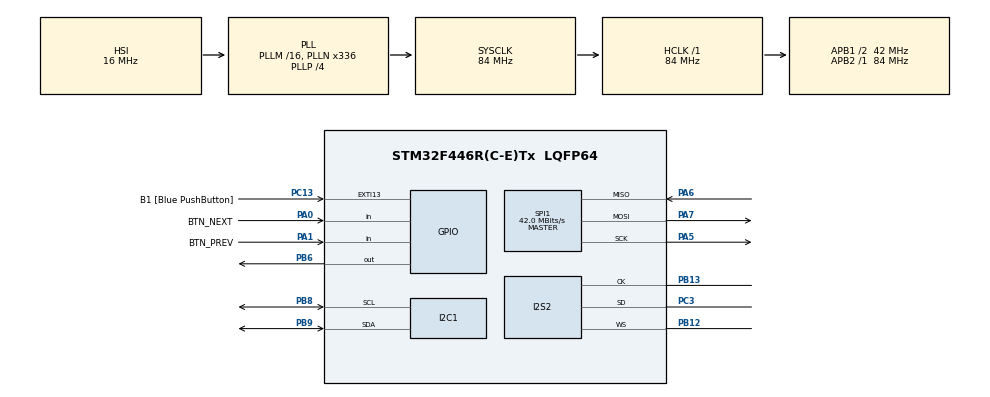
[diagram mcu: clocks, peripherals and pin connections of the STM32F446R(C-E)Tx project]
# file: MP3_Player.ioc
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Dma.Request0=SPI2_TX
Dma.SPI2_TX.0.Direction=DMA_MEMORY_TO_PERIPH
Dma.SPI2_TX.0.FIFOMode=DMA_FIFOMODE_DISABLE
Dma.SPI2_TX.0.Instance=DMA1_Stream4
Dma.SPI2_TX.0.MemDataAlignment=DMA_MDATAALIGN_HALFWORD
Dma.SPI2_TX.0.MemInc=DMA_MINC_ENABLE
Dma.SPI2_TX.0.Mode=DMA_CIRCULAR
Dma.SPI2_TX.0.PeriphDataAlignment=DMA_PDATAALIGN_HALFWORD
Dma.SPI2_TX.0.PeriphInc=DMA_PINC_DISABLE
Dma.SPI2_TX.0.Priority=DMA_PRIORITY_LOW
I2S2.AudioFreq=I2S_AUDIOFREQ_44K
I2S2.ErrorAudioFreq=0.24 %
I2S2.FullDuplexMode=I2S_FULLDUPLEXMODE_DISABLE
I2S2.Instance=SPI$Index
I2S2.RealAudioFreq=44.108 KHz
I2S2.VirtualMode=I2S_MODE_MASTER
Mcu.Family=STM32F4
Mcu.Name=STM32F446R(C-E)Tx
Mcu.Package=LQFP64
NVIC.DMA1_Stream4_IRQn=true\:0\:0\:false\:false\:true\:false\:true\:true
NVIC.PriorityGroup=NVIC_PRIORITYGROUP_0
PA0-WKUP.GPIO_Label=BTN_NEXT
PA0-WKUP.GPIO_PuPd=GPIO_PULLUP
PA0-WKUP.Signal=GPIO_Input
PA1.GPIO_Label=BTN_PREV
PA1.GPIO_PuPd=GPIO_PULLUP
PA1.Signal=GPIO_Input
PA13.GPIO_Label=TMS
PA13.Mode=Serial_Wire
PA13.Signal=SYS_JTMS-SWDIO
PA14.GPIO_Label=TCK
PA14.Mode=Serial_Wire
PA14.Signal=SYS_JTCK-SWCLK
PA2.GPIO_Label=USART_TX
PA2.Signal=USART2_TX
PA3.GPIO_Label=USART_RX
PA3.Signal=USART2_RX
PA5.Mode=Full_Duplex_Master
PA5.Signal=SPI1_SCK
PA6.Mode=Full_Duplex_Master
PA6.Signal=SPI1_MISO
PA7.Mode=Full_Duplex_Master
PA7.Signal=SPI1_MOSI
PB12.Mode=Half_Duplex_Master
PB12.Signal=I2S2_WS
PB13.Mode=Half_Duplex_Master
PB13.Signal=I2S2_CK
PB6.Signal=GPIO_Output
PB8.Mode=I2C
PB8.Signal=I2C1_SCL
PB9.Mode=I2C
PB9.Signal=I2C1_SDA
PC13.GPIO_Label=B1 [Blue PushButton]
PC13.GPIO_ModeDefaultEXTI=GPIO_MODE_IT_FALLING
PC13.Signal=GPXTI13
PC14-OSC32_IN.Signal=RCC_OSC32_IN
PC15-OSC32_OUT.Signal=RCC_OSC32_OUT
PC3.Mode=Half_Duplex_Master
PC3.Signal=I2S2_SD
PH0-OSC_IN.Signal=RCC_OSC_IN
PH1-OSC_OUT.Signal=RCC_OSC_OUT
ProjectManager.HeapSize=0x200
ProjectManager.StackSize=0x400
ProjectManager.TargetToolchain=STM32CubeIDE
RCC.AHBFreq_Value=84000000
RCC.APB1CLKDivider=RCC_HCLK_DIV2
RCC.APB1Freq_Value=42000000
RCC.APB1TimFreq_Value=84000000
RCC.APB2Freq_Value=84000000
RCC.APB2TimFreq_Value=84000000
RCC.CortexFreq_Value=84000000
RCC.FLatency-AdvancedSettings=FLASH_LATENCY_2
RCC.HCLKFreq_Value=84000000
RCC.HSE_VALUE=8000000
RCC.HSI_VALUE=16000000
RCC.LSE_VALUE=32768
RCC.PLLI2SN=271
RCC.PLLI2SR=6
RCC.PLLN=336
RCC.PLLP=RCC_PLLP_DIV4
RCC.SYSCLKFreq_VALUE=84000000
RCC.SYSCLKSource=RCC_SYSCLKSOURCE_PLLCLK
RCC.USBFreq_Value=168000000
RCC.VCOOutputFreq_Value=336000000
SPI1.CalculateBaudRate=42.0 MBits/s
SPI1.Direction=SPI_DIRECTION_2LINES
SPI1.Mode=SPI_MODE_MASTER
SPI1.VirtualType=VM_MASTER
VP_FATFS_VS_Generic.Mode=User_defined
board=NUCLEO-F446RE

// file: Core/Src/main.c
/* USER CODE BEGIN Header */
/**
  ******************************************************************************
  * @file           : main.c
  * @brief          : Reproductor de audio WAV en tiempo real para STM32F446RE.
  *                   Pipeline: FatFs (SPI1) -> DMA Ping-Pong Buffer -> I2S2 -> DAC PCM5102A.
  * @author         : polcf03
  * @note           : Implementa un buffer circular de doble mitad (Ping-Pong)
  *                   sincronizado mediante interrupciones DMA (Half/Complete Transfer).
  ******************************************************************************
  */
/* USER CODE END Header */

#include "main.h"
#include "fatfs.h"

/* USER CODE BEGIN Includes */
#include "ff.h"
#include "string.h"
#include "stdio.h"
#include "ssd1306.h"
#include "ssd1306_fonts.h"
/* USER CODE END Includes */

/* USER CODE BEGIN PTD */
/**
 * @brief Estados principales de la máquina de control de reproducción de audio.
 */
typedef enum {
    PLAYER_STOPPED = 0, /*!< Reproducción detenida, DMA inactiva */
    PLAYER_PLAYING,     /*!< Audio en streaming continuo vía DMA */
    PLAYER_PAUSED       /*!< Reloj/transmisión de audio en pausa, archivo abierto */
} PlayerState_t;
/* USER CODE END PTD */

/* USER CODE BEGIN PD */
/**
 * @brief Tamaño total del búfer circular en muestras de 16 bits (uint16_t).
 * @details 4096 muestras equivalen a 2048 muestras por canal (L+R estéreo).
 *          A 44.1 kHz, el búfer representa ~46.4 ms totales de audio.
 *          Cada semibúfer (2048 palabras de 16 bits / 1024 muestras estéreo) otorga un
 *          margen de ~23.2 ms a la CPU para leer de la tarjeta SD sin causar underrun.
 */
#define AUDIO_BUFFER_SIZE   4096
/* USER CODE END PD */

I2C_HandleTypeDef hi2c1;        /*!< Manejador del bus I2C1 (Pantalla OLED) */
I2S_HandleTypeDef hi2s2;        /*!< Manejador de la interfaz de audio I2S2 (DAC PCM5102A) */
DMA_HandleTypeDef hdma_spi2_tx; /*!< Manejador de DMA1 Stream 4 para TX I2S2 */
SPI_HandleTypeDef hspi1;        /*!< Manejador del bus SPI1 (Lector SD) */

/* USER CODE BEGIN PV */
/* Objetos del Middleware FatFs */
FATFS   FatFs;               /*!< Objeto de montaje del sistema de archivos en volumen lógico */
FIL     audioFile;           /*!< Descriptor del archivo de audio actualmente abierto */
FRESULT fr;                  /*!< Código de resultado de las operaciones FatFs */
UINT    bytesRead;           /*!< Contador de bytes leídos en cada ráfaga de f_read */

/* Variables de control del pipeline de audio */
uint16_t audioBuffer[AUDIO_BUFFER_SIZE]; /*!< Búfer circular compartido entre CPU y DMA */
volatile uint8_t bufferHalfFull = 0;    /*!< Flag de sincronización ISR-Main:
                                             1 = Semibúfer 0 consumido (DMA transmite mitad 1)
                                             2 = Semibúfer 1 consumido (DMA transmite mitad 0) */
uint32_t audioDataOffset = 44;          /*!< Posición en bytes donde comienzan las muestras PCM */
PlayerState_t playerState = PLAYER_STOPPED; /*!< Estado actual del reproductor */
/* USER CODE END PV */

void SystemClock_Config(void);
static void MX_GPIO_Init(void);
static void MX_DMA_Init(void);
static void MX_I2C1_Init(void);
static void MX_I2S2_Init(void);
static void MX_SPI1_Init(void);

/* USER CODE BEGIN PFP */
void Draw_PlayerScreen(const char* songName);
void Display_Error(const char* msg);
uint32_t WAV_GetDataOffset(FIL* fp);
/* USER CODE END PFP */

/* USER CODE BEGIN 0 */

/**
 * @brief  Localiza dinámicamente el inicio de los datos PCM (chunk "data") en un archivo WAV.
 * @details Examina la cabecera del archivo en búsqueda de la etiqueta ASCII "data".
 *          Evita errores de alineación de 16 bits provocados por metadatos opcionales (etiquetas LIST/INFO).
 * @param  fp: Puntero al descriptor de archivo FatFs ya abierto.
 * @retval Desplazamiento en bytes (offset) desde el inicio del archivo donde inician las muestras PCM.
 */
uint32_t WAV_GetDataOffset(FIL* fp) {
    uint8_t buffer[512];
    UINT br;

    f_lseek(fp, 0);
    if (f_read(fp, buffer, sizeof(buffer), &br) != FR_OK || br < 44) {
        return 44; /* Retorno seguro por defecto si el archivo es un WAV canónico de 44 bytes */
    }

    /* Búsqueda de la firma "data" en los primeros 512 bytes de la cabecera */
    for (uint32_t i = 0; i < br - 4; i++) {
        if (buffer[i] == 'd' && buffer[i+1] == 'a' &&
            buffer[i+2] == 't' && buffer[i+3] == 'a') {
            return i + 8; /* Saltar el identificador "data" (4 bytes) + campo ChunkSize (4 bytes) */
        }
    }
    return 44;
}

/**
 * @brief  Renderiza la interfaz visual del reproductor en la pantalla OLED SSD1306 vía I2C.
 * @param  songName: Cadena de caracteres con el título del tema a mostrar.
 * @retval Ninguno
 */
void Draw_PlayerScreen(const char* songName) {
    ssd1306_Fill(Black);

    /* Encabezado */
    ssd1306_SetCursor(0, 0);
    ssd1306_WriteString("STM32 PLAYER", Font_7x10, White);

    /* Nombre del tema */
    ssd1306_SetCursor(0, 18);
    ssd1306_WriteString((char*)songName, Font_7x10, White);

    /* Estado del reproductor */
    ssd1306_SetCursor(0, 34);
    ssd1306_WriteString("Status: PLAY", Font_7x10, White);

    /* Indicador de progreso estático */
    ssd1306_SetCursor(0, 50);
    ssd1306_WriteString("[=====>    ]", Font_7x10, White);

    ssd1306_UpdateScreen();
}

/**
 * @brief  Detiene la ejecución del sistema y muestra un mensaje de fallo crítico en la pantalla.
 * @param  msg: Cadena de texto descriptiva del error detectado.
 * @retval Ninguno (Entra en un bucle de bloqueo permanente).
 */
void Display_Error(const char* msg) {
    ssd1306_Fill(Black);
    ssd1306_SetCursor(0, 0);
    ssd1306_WriteString("FATAL ERROR", Font_7x10, White);
    ssd1306_SetCursor(0, 20);
    ssd1306_WriteString((char*)msg, Font_7x10, White);
    ssd1306_UpdateScreen();
    while (1);
}

/* USER CODE END 0 */

/**
  * @brief  Punto de entrada principal de la aplicación.
  * @retval int
  */
int main(void)
{
  /* Reset de todos los periféricos, inicialización de la interfaz Flash y SysTick */
  HAL_Init();

  /* Configuración del reloj del sistema (System Clock) */
  SystemClock_Config();

  /* Inicialización de periféricos generados por STM32CubeMX */
  MX_GPIO_Init();
  MX_DMA_Init();
  MX_I2C1_Init();
  MX_I2S2_Init();
  MX_FATFS_Init();
  MX_SPI1_Init();

  /* USER CODE BEGIN 2 */

  /* 1. Inicialización de la pantalla OLED y preparación del bus SPI de la SD */
  ssd1306_Init();
  HAL_GPIO_WritePin(GPIOB, GPIO_PIN_6, GPIO_PIN_SET); /* Deseleccionar Chip Select (CS) de la SD (HIGH) */
  HAL_Delay(50);

  /* 2. Montaje del sistema de archivos FatFs a baja velocidad (<400 kHz requerido para inicializar la tarjeta SD) */
  fr = f_mount(&FatFs, "", 1);
  if (fr != FR_OK) {
      Display_Error("SD MOUNT FAIL");
  }

  /* 3. Reconfiguración de velocidad del bus SPI a alta velocidad (10.5 MHz) para transferencia de audio */
  hspi1.Init.BaudRatePrescaler = SPI_BAUDRATEPRESCALER_8;
  HAL_SPI_Init(&hspi1);

  /* 4. Apertura del archivo WAV desde la SD */
  fr = f_open(&audioFile, "test.wav", FA_READ);
  if (fr != FR_OK) {
      Display_Error("FILE NOT FOUND");
  }

  /* 5. Análisis de cabecera para ignorar metadatos y precarga del búfer Ping-Pong completo */
  audioDataOffset = WAV_GetDataOffset(&audioFile);
  f_lseek(&audioFile, audioDataOffset);

  fr = f_read(&audioFile, audioBuffer, sizeof(audioBuffer), &bytesRead);
  if (fr != FR_OK || bytesRead == 0) {
      Display_Error("FILE READ ERR");
  }

  /* 6. Actualización de la pantalla e inicio del streaming I2S con DMA en modo circular */
  Draw_PlayerScreen("Your Lie In April!!");
  playerState = PLAYER_PLAYING;
  HAL_I2S_Transmit_DMA(&hi2s2, (uint16_t*)audioBuffer, AUDIO_BUFFER_SIZE);

  /* USER CODE END 2 */

  /* Infinite loop */
  /* USER CODE BEGIN WHILE */
  while (1)
  {
      /**
       * MANTENIMIENTO DEL BÚFER CIRCULAR PING-PONG:
       *
       * Evento 1: La DMA ha completado el envío de la primera mitad del búfer (Muestras 0 a 2047).
       * Acción CPU: Recarga la primera mitad con datos nuevos desde la SD mientras la DMA
       *             sigue transmitiendo la segunda mitad de forma ininterrumpida.
       */
      if (bufferHalfFull == 1) {
          bufferHalfFull = 0;
          fr = f_read(&audioFile, &audioBuffer[0], sizeof(audioBuffer) / 2, &bytesRead);
          if (bytesRead < (sizeof(audioBuffer) / 2) || fr != FR_OK) {
              f_lseek(&audioFile, audioDataOffset); /* Rebobinar al inicio del audio si alcanza el EOF */
          }
      }

      /**
       * Evento 2: La DMA ha completado el envío de la segunda mitad del búfer (Muestras 2048 a 4095).
       * Acción CPU: Recarga la segunda mitad con datos nuevos desde la SD mientras la DMA
       *             vuelve a transmitir la primera mitad en bucle.
       */
      if (bufferHalfFull == 2) {
          bufferHalfFull = 0;
          fr = f_read(&audioFile, &audioBuffer[AUDIO_BUFFER_SIZE / 2], sizeof(audioBuffer) / 2, &bytesRead);
          if (bytesRead < (sizeof(audioBuffer) / 2) || fr != FR_OK) {
              f_lseek(&audioFile, audioDataOffset); /* Rebobinar al inicio del audio si alcanza el EOF */
          }
      }
  }
  /* USER CODE END WHILE */

}

/**
  * @brief Configuración del sistema de relojes (System Clock).
  * @retval None
  */
void SystemClock_Config(void)
{
  RCC_OscInitTypeDef RCC_OscInitStruct = {0};
  RCC_ClkInitTypeDef RCC_ClkInitStruct = {0};

  __HAL_RCC_PWR_CLK_ENABLE();
  __HAL_PWR_VOLTAGESCALING_CONFIG(PWR_REGULATOR_VOLTAGE_SCALE3);

  RCC_OscInitStruct.OscillatorType = RCC_OSCILLATORTYPE_HSI;
  RCC_OscInitStruct.HSIState = RCC_HSI_ON;
  RCC_OscInitStruct.HSICalibrationValue = RCC_HSICALIBRATION_DEFAULT;
  RCC_OscInitStruct.PLL.PLLState = RCC_PLL_ON;
  RCC_OscInitStruct.PLL.PLLSource = RCC_PLLSOURCE_HSI;
  RCC_OscInitStruct.PLL.PLLM = 16;
  RCC_OscInitStruct.PLL.PLLN = 336;
  RCC_OscInitStruct.PLL.PLLP = RCC_PLLP_DIV4;
  RCC_OscInitStruct.PLL.PLLQ = 2;
  RCC_OscInitStruct.PLL.PLLR = 2;
  if (HAL_RCC_OscConfig(&RCC_OscInitStruct) != HAL_OK)
  {
    Error_Handler();
  }

  RCC_ClkInitStruct.ClockType = RCC_CLOCKTYPE_HCLK|RCC_CLOCKTYPE_SYSCLK
                              |RCC_CLOCKTYPE_PCLK1|RCC_CLOCKTYPE_PCLK2;
  RCC_ClkInitStruct.SYSCLKSource = RCC_SYSCLKSOURCE_PLLCLK;
  RCC_ClkInitStruct.AHBCLKDivider = RCC_SYSCLK_DIV1;
  RCC_ClkInitStruct.APB1CLKDivider = RCC_HCLK_DIV2;
  RCC_ClkInitStruct.APB2CLKDivider = RCC_HCLK_DIV1;

  if (HAL_RCC_ClockConfig(&RCC_ClkInitStruct, FLASH_LATENCY_2) != HAL_OK)
  {
    Error_Handler();
  }
}

/**
  * @brief Inicialización del periférico I2C1 (Pantalla OLED).
  * @retval None
  */
static void MX_I2C1_Init(void)
{
  hi2c1.Instance = I2C1;
  hi2c1.Init.ClockSpeed = 100000;
  hi2c1.Init.DutyCycle = I2C_DUTYCYCLE_2;
  hi2c1.Init.OwnAddress1 = 0;
  hi2c1.Init.AddressingMode = I2C_ADDRESSINGMODE_7BIT;
  hi2c1.Init.DualAddressMode = I2C_DUALADDRESS_DISABLE;
  hi2c1.Init.OwnAddress2 = 0;
  hi2c1.Init.GeneralCallMode = I2C_GENERALCALL_DISABLE;
  hi2c1.Init.NoStretchMode = I2C_NOSTRETCH_DISABLE;
  if (HAL_I2C_Init(&hi2c1) != HAL_OK)
  {
    Error_Handler();
  }
}

/**
  * @brief Inicialización del periférico I2S2 (Interfaz de Audio).
  * @retval None
  */
static void MX_I2S2_Init(void)
{
  __HAL_RCC_SPI2_CLK_ENABLE();
  hi2s2.Instance = SPI2;
  hi2s2.Init.Mode = I2S_MODE_MASTER_TX;
  hi2s2.Init.Standard = I2S_STANDARD_PHILIPS;
  hi2s2.Init.DataFormat = I2S_DATAFORMAT_16B_EXTENDED;
  hi2s2.Init.MCLKOutput = I2S_MCLKOUTPUT_DISABLE;
  hi2s2.Init.AudioFreq = I2S_AUDIOFREQ_44K;
  hi2s2.Init.CPOL = I2S_CPOL_LOW;
  hi2s2.Init.ClockSource = I2S_CLOCK_PLL;
  hi2s2.Init.FullDuplexMode = I2S_FULLDUPLEXMODE_DISABLE;
  if (HAL_I2S_Init(&hi2s2) != HAL_OK)
  {
    Error_Handler();
  }
}

/**
  * @brief Inicialización del periférico SPI1 (Comunicación con SD).
  * @retval None
  */
static void MX_SPI1_Init(void)
{
  hspi1.Instance = SPI1;
  hspi1.Init.Mode = SPI_MODE_MASTER;
  hspi1.Init.Direction = SPI_DIRECTION_2LINES;
  hspi1.Init.DataSize = SPI_DATASIZE_8BIT;
  hspi1.Init.CLKPolarity = SPI_POLARITY_LOW;
  hspi1.Init.CLKPhase = SPI_PHASE_1EDGE;
  hspi1.Init.NSS = SPI_NSS_SOFT;
  hspi1.Init.BaudRatePrescaler = SPI_BAUDRATEPRESCALER_128;
  hspi1.Init.FirstBit = SPI_FIRSTBIT_MSB;
  hspi1.Init.TIMode = SPI_TIMODE_DISABLE;
  hspi1.Init.CRCCalculation = SPI_CRCCALCULATION_DISABLE;
  hspi1.Init.CRCPolynomial = 10;
  if (HAL_SPI_Init(&hspi1) != HAL_OK)
  {
    Error_Handler();
  }
}

/**
  * @brief Inicialización de la controladora DMA para I2S2.
  * @retval None
  */
static void MX_DMA_Init(void)
{
  __HAL_RCC_DMA1_CLK_ENABLE();
  HAL_NVIC_SetPriority(DMA1_Stream4_IRQn, 0, 0);
  HAL_NVIC_EnableIRQ(DMA1_Stream4_IRQn);
}

/**
  * @brief Inicialización general de los pines GPIO.
  * @retval None
  */
static void MX_GPIO_Init(void)
{
  GPIO_InitTypeDef GPIO_InitStruct = {0};

  /* Habilitación de relojes de los puertos GPIO */
  __HAL_RCC_GPIOC_CLK_ENABLE();
  __HAL_RCC_GPIOH_CLK_ENABLE();
  __HAL_RCC_GPIOA_CLK_ENABLE();
  __HAL_RCC_GPIOB_CLK_ENABLE();

  /* Nivel lógico inicial del pin de selección SD (CS) */
  HAL_GPIO_WritePin(GPIOB, GPIO_PIN_6, GPIO_PIN_SET);

  /* Configuración de pin: Botón azul B1 (PC13) */
  GPIO_InitStruct.Pin = B1_Pin;
  GPIO_InitStruct.Mode = GPIO_MODE_IT_FALLING;
  GPIO_InitStruct.Pull = GPIO_NOPULL;
  HAL_GPIO_Init(B1_GPIO_Port, &GPIO_InitStruct);

  /* Configuración de pines: Botones de control NEXT (PA0) y PREV (PA1) */
  GPIO_InitStruct.Pin = BTN_NEXT_Pin|BTN_PREV_Pin;
  GPIO_InitStruct.Mode = GPIO_MODE_INPUT;
  GPIO_InitStruct.Pull = GPIO_PULLUP;
  HAL_GPIO_Init(GPIOA, &GPIO_InitStruct);

  /* Configuración de pines: UART2 TX/RX (PA2 / PA3) */
  GPIO_InitStruct.Pin = USART_TX_Pin|USART_RX_Pin;
  GPIO_InitStruct.Mode = GPIO_MODE_AF_PP;
  GPIO_InitStruct.Pull = GPIO_NOPULL;
  GPIO_InitStruct.Speed = GPIO_SPEED_FREQ_VERY_HIGH;
  GPIO_InitStruct.Alternate = GPIO_AF7_USART2;
  HAL_GPIO_Init(GPIOA, &GPIO_InitStruct);

  /* Configuración del pin: Chip Select (CS) para tarjeta SD (PB6) */
  GPIO_InitStruct.Pin = GPIO_PIN_6;
  GPIO_InitStruct.Mode = GPIO_MODE_OUTPUT_PP;
  GPIO_InitStruct.Pull = GPIO_NOPULL;
  GPIO_InitStruct.Speed = GPIO_SPEED_FREQ_HIGH;
  HAL_GPIO_Init(GPIOB, &GPIO_InitStruct);
}

/* USER CODE BEGIN 4 */

/**
 * @brief  Callback de interrupción por transferencia a mitad de búfer DMA I2S (Half Transfer).
 * @details Invocado por HAL cuando la DMA transmite el primer bloque `[0 ... (AUDIO_BUFFER_SIZE/2) - 1]`.
 * @param  hi2s: Puntero a la estructura de configuración I2S.
 * @retval None
 */
void HAL_I2S_TxHalfCpltCallback(I2S_HandleTypeDef *hi2s) {
    if (hi2s->Instance == SPI2) {
        bufferHalfFull = 1; /* Señaliza al bucle principal para recargar la mitad 0 */
    }
}

/**
 * @brief  Callback de interrupción por transferencia completa de búfer DMA I2S (Transfer Complete).
 * @details Invocado por HAL cuando la DMA transmite el segundo bloque `[(AUDIO_BUFFER_SIZE/2) ... AUDIO_BUFFER_SIZE - 1]`.
 * @param  hi2s: Puntero a la estructura de configuración I2S.
 * @retval None
 */
void HAL_I2S_TxCpltCallback(I2S_HandleTypeDef *hi2s) {
    if (hi2s->Instance == SPI2) {
        bufferHalfFull = 2; /* Señaliza al bucle principal para recargar la mitad 1 */
    }
}

/* USER CODE END 4 */

/**
  * @brief  Manejador global de errores irrecuperables.
  * @retval None
  */
void Error_Handler(void)
{
  __disable_irq();
  while (1)
  {
  }
}
